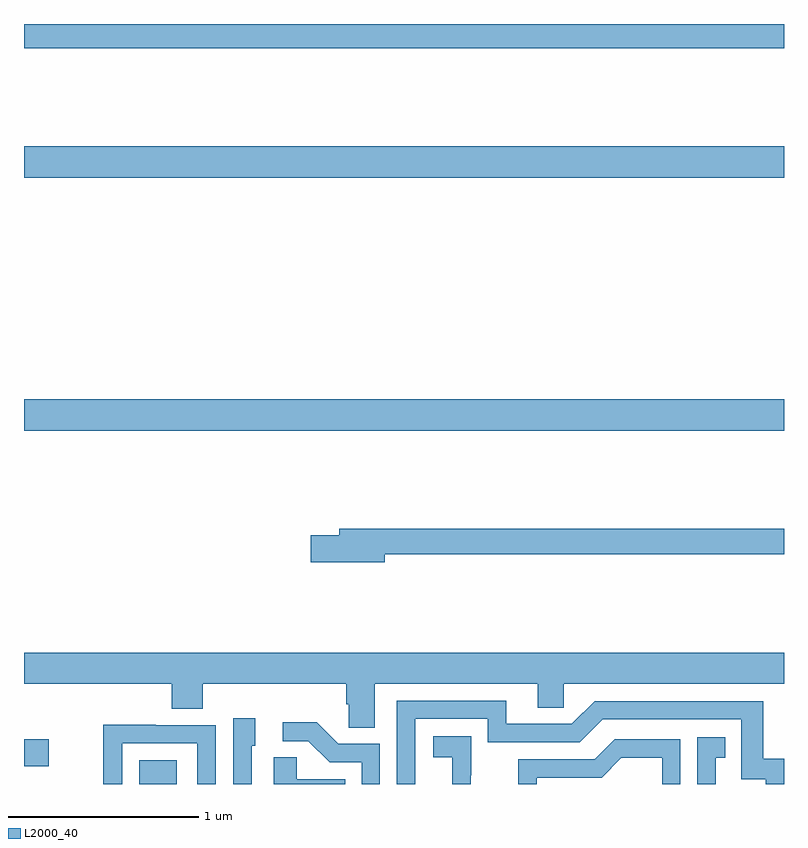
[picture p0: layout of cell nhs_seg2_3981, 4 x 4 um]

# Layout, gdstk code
import gdstk
lib = gdstk.Library(unit=1e-6, precision=1e-09)
def R(c, l, rs):  # rectangles x0, y0, x1, y1
    for r in rs: c.add(gdstk.rectangle(r[:2], r[2:], *l))
def P(c, l, *ps):  # polygons
    for p in ps: c.add(gdstk.Polygon(p, *l))
L2000_40 = (2000, 40)

nhs_seg2_3981 = lib.new_cell('nhs_seg2_3981')
R(nhs_seg2_3981, L2000_40, [(323.606,621.8,323.803,621.925), (323,621.893,323.131,622.035), (323,623.66,327,623.824), (323,624.992,327,625.156), (323,625.672,327,625.8)])
P(nhs_seg2_3981, L2000_40, [(324.898,623.008),(327,623.008),(327,623.144),(324.659,623.144),(324.659,623.108),(324.51,623.108),(324.51,622.966),(324.898,622.966)],
  [(324.847,622.328),(325.703,622.328),(325.703,622.201),(325.842,622.201),(325.842,622.328),(327,622.328),(327,622.492),(323,622.492),(323,622.328),(323.777,622.328),(323.777,622.195),(323.942,622.195),(323.942,622.328),(324.695,622.328),(324.695,622.219),(324.708,622.219),(324.708,622.096),(324.847,622.096)],
  [(325.059,622.143),(325.44,622.143),(325.44,622.02),(325.926,622.02),(326.046,622.14),(326.775,622.14),(326.775,621.825),(326.904,621.825),(326.904,621.8),(327,621.8),(327,621.934),(326.891,621.934),(326.891,622.236),(326.004,622.236),(325.884,622.116),(325.537,622.116),(325.537,622.239),(324.963,622.239),(324.963,621.8),(325.059,621.8)],
  [(324.198,622.002),(324.217,622.002),(324.217,622.147),(324.102,622.147),(324.102,621.8),(324.198,621.8)],
  [(324.873,622.011),(324.654,622.011),(324.541,622.124),(324.363,622.124),(324.363,622.026),(324.497,622.026),(324.608,621.915),(324.777,621.915),(324.777,621.8),(324.873,621.8)],
  [(323.517,622.014),(323.913,622.014),(323.913,621.8),(324.009,621.8),(324.009,622.11),(323.693,622.11),(323.693,622.112),(323.416,622.112),(323.416,621.8),(323.517,621.8)],
  [(325.352,621.845),(325.353,621.845),(325.353,622.051),(325.155,622.051),(325.155,621.941),(325.253,621.941),(325.253,621.8),(325.352,621.8)],
  [(326.641,621.939),(326.69,621.939),(326.69,622.045),(326.544,622.045),(326.544,621.8),(326.641,621.8)],
  [(325.698,621.834),(326.04,621.834),(326.144,621.938),(326.358,621.938),(326.358,621.8),(326.454,621.8),(326.454,622.035),(326.108,622.035),(326.003,621.93),(325.6,621.93),(325.6,621.8),(325.698,621.8)],
  [(324.692,621.826),(324.435,621.826),(324.435,621.941),(324.314,621.941),(324.314,621.8),(324.692,621.8)])

lib.write_gds('nhs_seg2_3981.gds')
